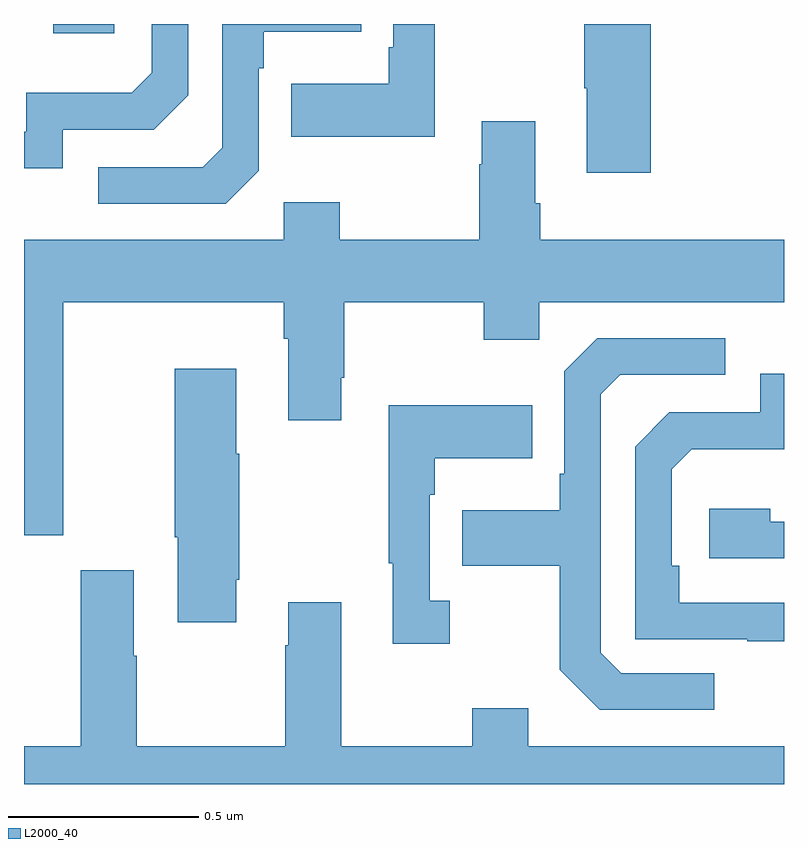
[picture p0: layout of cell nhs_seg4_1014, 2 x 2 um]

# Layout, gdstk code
import gdstk
lib = gdstk.Library(unit=1e-6, precision=1e-09)
def R(c, l, rs):  # rectangles x0, y0, x1, y1
    for r in rs: c.add(gdstk.rectangle(r[:2], r[2:], *l))
def P(c, l, *ps):  # polygons
    for p in ps: c.add(gdstk.Polygon(p, *l))
L2000_40 = (2000, 40)

nhs_seg4_1014 = lib.new_cell('nhs_seg4_1014')
R(nhs_seg4_1014, L2000_40, [(123.077,782.876,123.238,782.9)])
P(nhs_seg4_1014, L2000_40, [(123.618,782.514),(123.618,782.783),(123.631,782.783),(123.631,782.879),(123.887,782.879),(123.887,782.9),(123.522,782.9),(123.522,782.574),(123.471,782.523),(123.195,782.523),(123.195,782.427),(123.531,782.427)],
  [(123.102,782.622),(123.342,782.622),(123.432,782.712),(123.432,782.9),(123.336,782.9),(123.336,782.772),(123.283,782.719),(123.006,782.719),(123.006,782.616),(123,782.616),(123,782.52),(123.102,782.52)],
  [(124.649,782.9),(124.474,782.9),(124.474,782.731),(124.481,782.731),(124.481,782.508),(124.649,782.508)],
  [(124.081,782.9),(123.972,782.9),(123.972,782.839),(123.96,782.839),(123.96,782.743),(123.703,782.743),(123.703,782.603),(124.081,782.603)],
  [(123.103,782.168),(123.683,782.168),(123.683,782.072),(123.695,782.072),(123.695,781.857),(123.835,781.857),(123.835,781.969),(123.843,781.969),(123.843,782.168),(124.21,782.168),(124.21,782.069),(124.356,782.069),(124.356,782.168),(125,782.168),(125,782.332),(124.358,782.332),(124.358,782.428),(124.345,782.428),(124.345,782.644),(124.205,782.644),(124.205,782.531),(124.198,782.531),(124.198,782.332),(123.831,782.332),(123.831,782.431),(123.684,782.431),(123.684,782.332),(123,782.332),(123,781.554),(123.103,781.554)],
  [(124.816,781.191),(124.572,781.191),(124.518,781.245),(124.518,781.926),(124.569,781.977),(124.846,781.977),(124.846,782.073),(124.509,782.073),(124.422,781.986),(124.422,781.717),(124.41,781.717),(124.41,781.621),(124.153,781.621),(124.153,781.474),(124.41,781.474),(124.41,781.201),(124.515,781.095),(124.816,781.095)],
  [(123.559,781.438),(123.567,781.438),(123.567,781.769),(123.559,781.769),(123.559,781.993),(123.397,781.993),(123.397,781.549),(123.404,781.549),(123.404,781.326),(123.559,781.326)],
  [(125,781.377),(124.724,781.377),(124.724,781.474),(124.704,781.474),(124.704,781.728),(124.757,781.781),(125,781.781),(125,781.98),(124.938,781.98),(124.938,781.878),(124.698,781.878),(124.608,781.788),(124.608,781.281),(124.903,781.281),(124.903,781.276),(125,781.276)],
  [(124.12,781.382),(124.068,781.382),(124.068,781.661),(124.081,781.661),(124.081,781.757),(124.337,781.757),(124.337,781.897),(123.96,781.897),(123.96,781.481),(123.971,781.481),(123.971,781.269),(124.12,781.269)],
  [(125,781.59),(124.964,781.59),(124.964,781.624),(124.803,781.624),(124.803,781.494),(125,781.494)],
  [(125,781),(124.327,781),(124.327,781.099),(124.18,781.099),(124.18,781),(123.835,781),(123.835,781.378),(123.695,781.378),(123.695,781.265),(123.688,781.265),(123.688,781),(123.297,781),(123.297,781.238),(123.289,781.238),(123.289,781.462),(123.149,781.462),(123.149,781),(123,781),(123,780.9),(125,780.9)])

lib.write_gds('nhs_seg4_1014.gds')
